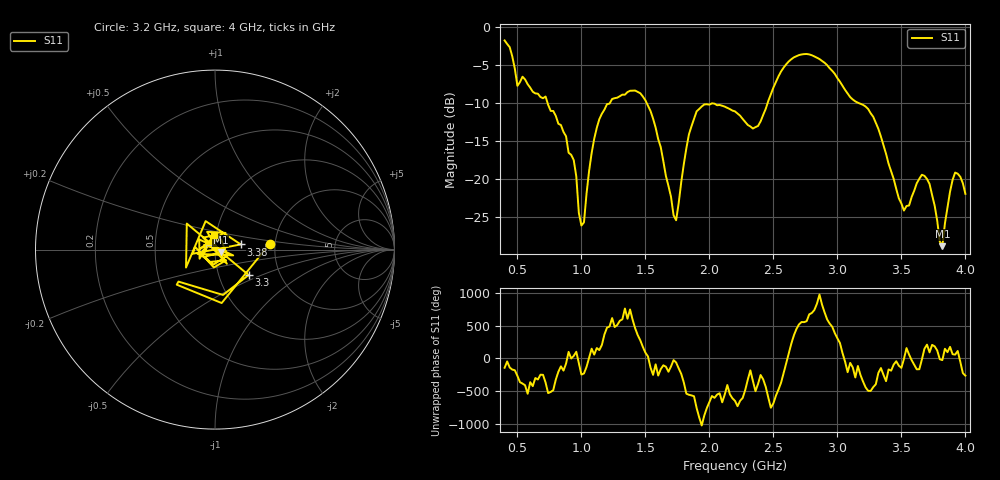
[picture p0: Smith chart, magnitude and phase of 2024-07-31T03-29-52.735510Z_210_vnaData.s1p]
!Created with skrf (http://scikit-rf.org).
# Hz S RI R 50.0
!freq ReS11 ImS11
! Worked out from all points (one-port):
!   181 points, 400 MHz to 4 GHz, reference 50 ohm
!   lowest |S11| = -28.9 dB at 3.82 GHz (marker M1), VSWR 1.07, Z = 53.3 - j1.71 ohm
!   |S11| at or under -10 dB: 735.7 MHz to 1.222 GHz (486.8 MHz wide, 49.7 % of centre); 1.51 GHz to 2.455 GHz (944.9 MHz wide, 47.7 % of centre); 3.166 GHz to end of sweep
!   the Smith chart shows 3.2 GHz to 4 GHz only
!   S11 on the Smith chart (normalised r, x): 3.2 GHz: 1.87, +0.14; 3.3 GHz: 1.39, -0.42; 3.38 GHz: 1.33, +0.08; 4 GHz: 0.97, +0.16
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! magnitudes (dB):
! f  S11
! 400 MHz  -1.8
! 500 MHz  -7.7
! 720 MHz  -9.1
! 860 MHz  -13.8
! 940 MHz  -17.5
! 1 GHz  -26.2
! 1.14 GHz  -12.1
! 1.3 GHz  -9.1
! 1.5 GHz  -9.6
! 1.62 GHz  -15.8
! 1.72 GHz  -24.8
! 1.76 GHz  -23.2
! 1.84 GHz  -14.1
! 1.9 GHz  -11.1
! 2.2 GHz  -11.1
! 2.38 GHz  -13.0
! 2.66 GHz  -4.0
! 2.86 GHz  -4.2
! 3.1 GHz  -9.2
! 3.2 GHz  -10.2
! 3.3 GHz  -12.6
! 3.38 GHz  -16.7
! 3.52 GHz  -24.2
! 3.56 GHz  -23.5
! 3.68 GHz  -19.6
! 3.82 GHz  -28.9
! 3.92 GHz  -19.2
! 4 GHz  -22.0
